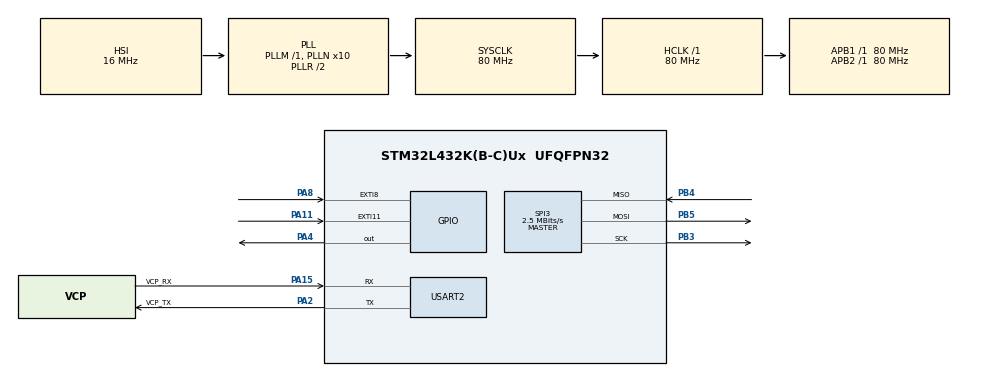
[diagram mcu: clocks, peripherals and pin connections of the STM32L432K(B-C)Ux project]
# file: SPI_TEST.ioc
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Mcu.Family=STM32L4
Mcu.Name=STM32L432K(B-C)Ux
Mcu.Package=UFQFPN32
NVIC.EXTI15_10_IRQn=true\:2\:0\:true\:false\:true\:true\:true\:true
NVIC.EXTI9_5_IRQn=true\:2\:0\:true\:false\:true\:true\:true\:true
NVIC.PriorityGroup=NVIC_PRIORITYGROUP_4
PA0.GPIO_Label=MCO [High speed clock in]
PA0.Mode=HSE-External-Clock-Source-for-LittleOrca
PA0.Signal=RCC_CK_IN
PA11.GPIO_ModeDefaultEXTI=GPIO_MODE_IT_FALLING
PA11.Signal=GPXTI11
PA13\ (JTMS-SWDIO).GPIO_Label=SWDIO
PA13\ (JTMS-SWDIO).Mode=Serial_Wire
PA13\ (JTMS-SWDIO).Signal=SYS_JTMS-SWDIO
PA14\ (JTCK-SWCLK).GPIO_Label=SWCLK
PA14\ (JTCK-SWCLK).Mode=Serial_Wire
PA14\ (JTCK-SWCLK).Signal=SYS_JTCK-SWCLK
PA15\ (JTDI).GPIO_Label=VCP_RX
PA15\ (JTDI).Mode=Asynchronous
PA15\ (JTDI).Signal=USART2_RX
PA2.GPIO_Label=VCP_TX
PA2.Mode=Asynchronous
PA2.Signal=USART2_TX
PA4.PinState=GPIO_PIN_SET
PA4.Signal=GPIO_Output
PA8.GPIO_ModeDefaultEXTI=GPIO_MODE_IT_FALLING
PA8.Signal=GPXTI8
PB3\ (JTDO-TRACESWO).GPIO_Speed=GPIO_SPEED_FREQ_VERY_HIGH
PB3\ (JTDO-TRACESWO).Mode=Full_Duplex_Master
PB3\ (JTDO-TRACESWO).Signal=SPI3_SCK
PB4\ (NJTRST).GPIO_Speed=GPIO_SPEED_FREQ_VERY_HIGH
PB4\ (NJTRST).Mode=Full_Duplex_Master
PB4\ (NJTRST).Signal=SPI3_MISO
PB5.GPIO_Speed=GPIO_SPEED_FREQ_VERY_HIGH
PB5.Mode=Full_Duplex_Master
PB5.Signal=SPI3_MOSI
PC14-OSC32_IN\ (PC14).Mode=LSE-External-Oscillator
PC14-OSC32_IN\ (PC14).Signal=RCC_OSC32_IN
PC15-OSC32_OUT\ (PC15).Mode=LSE-External-Oscillator
PC15-OSC32_OUT\ (PC15).Signal=RCC_OSC32_OUT
ProjectManager.HeapSize=0x200
ProjectManager.StackSize=0x400
ProjectManager.TargetToolchain=STM32CubeIDE
RCC.ADCFreq_Value=64000000
RCC.AHBFreq_Value=80000000
RCC.APB1Freq_Value=80000000
RCC.APB1TimFreq_Value=80000000
RCC.APB2Freq_Value=80000000
RCC.APB2TimFreq_Value=80000000
RCC.CortexFreq_Value=80000000
RCC.HCLKFreq_Value=80000000
RCC.HSE_VALUE=8000000
RCC.HSI16_VALUE=16000000
RCC.HSI48_VALUE=48000000
RCC.HSI_VALUE=16000000
RCC.MSI_VALUE=4000000
RCC.PLLMUL=RCC_PLLMUL_4
RCC.PLLN=10
RCC.PLLSourceVirtual=RCC_PLLSOURCE_HSI
RCC.SYSCLKFreq_VALUE=80000000
RCC.SYSCLKSource=RCC_SYSCLKSOURCE_PLLCLK
RCC.USBFreq_Value=64000000
RCC.VCOOutputFreq_Value=160000000
SPI3.BaudRatePrescaler=SPI_BAUDRATEPRESCALER_32
SPI3.CLKPhase=SPI_PHASE_2EDGE
SPI3.CLKPolarity=SPI_POLARITY_LOW
SPI3.CalculateBaudRate=2.5 MBits/s
SPI3.DataSize=SPI_DATASIZE_8BIT
SPI3.Direction=SPI_DIRECTION_2LINES
SPI3.Mode=SPI_MODE_MASTER
SPI3.VirtualType=VM_MASTER
USART2.VirtualMode-Asynchronous=VM_ASYNC
board=NUCLEO-L432KC

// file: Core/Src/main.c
/* USER CODE BEGIN Header */
/**
  ******************************************************************************
  * @file           : main.c
  * @brief          : Main program body
  ******************************************************************************
  * @attention
  *
  * Copyright (c) 2024 STMicroelectronics.
  * All rights reserved.
  *
  * This software is licensed under terms that can be found in the LICENSE file
  * in the root directory of this software component.
  * If no LICENSE file comes with this software, it is provided AS-IS.
  *
  ******************************************************************************
  */
/* USER CODE END Header */
#include "main.h"

/* USER CODE BEGIN Includes */
#include <string.h>
#include <stdio.h>
#include <math.h>

/* USER CODE END Includes */

/* USER CODE BEGIN PD */
#define VREF 2.5
#define M 2.4
#define C 1.2
#define VOUT 2
#define SINE_RESOLUTION 10000 // Number of points in the sine wave
#define DAC_MAX 65535       // 16-bit DAC
#define V_REF 2.5           // Reference voltage for DAC
#define V_OUT_RANGE 3.0     // Desired voltage range for sine wave output
/* USER CODE END PD */

SPI_HandleTypeDef hspi3;

UART_HandleTypeDef huart2;

/* USER CODE BEGIN PV */
const uint8_t CRaddress = 0x04; 			//Control register address
const uint16_t CRconfig = 0x22D; 			//Control register configuration
const uint8_t Read = 0x0C;  				//Control register read
const uint8_t Reset = 0x0F;  				//Reset address
const uint8_t DAC_update_address = 0x03;	//DAC Write_Update address
const uint8_t DAC_Read = 0xB;				//DAC read address
uint8_t rxData[3];
uint16_t sine_wave[SINE_RESOLUTION];

/* USER CODE END PV */

void SystemClock_Config(void);
static void MX_GPIO_Init(void);
static void MX_USART2_UART_Init(void);
static void MX_SPI3_Init(void);

/* USER CODE BEGIN 0 */
void generate_sine_wave(void) {
    for (int i = 0; i < SINE_RESOLUTION; i++) {
        double angle = 2 * M_PI * i / SINE_RESOLUTION;
        double sine_value = sin(angle);

        // Convert to DAC value using the transfer function
        double v_out = sine_value * V_OUT_RANGE; // Scale sine wave to desired voltage range
        uint16_t dac_value = (uint16_t)((((v_out/VREF)+C)/M)*(65535));
        sine_wave[i] = dac_value;
    }
}
void AD5761_Read(uint8_t reg, uint16_t value) {
	//HAL_StatusTypeDef ret,re;
    uint8_t nop[3]= {(uint8_t)0x0,(uint8_t)0x0,(uint8_t)0x0};

	uint8_t txData[3];
    txData[0] = reg;
    txData[1] = (value & 0xFF00) >> 8;
    txData[2] = (value & 0x00FF) >> 0;

    HAL_GPIO_WritePin(GPIOA, GPIO_PIN_4, GPIO_PIN_RESET);				 // CS Low
    HAL_SPI_Transmit(&hspi3, txData, 3, HAL_MAX_DELAY);  				 // Transmit data
    HAL_GPIO_WritePin(GPIOA, GPIO_PIN_4, GPIO_PIN_SET);   					// CS High

    HAL_Delay(10);
    HAL_GPIO_WritePin(GPIOA, GPIO_PIN_4, GPIO_PIN_RESET); 				// CS Low
    HAL_SPI_TransmitReceive(&hspi3, nop, rxData, 3,HAL_MAX_DELAY);   	// Transmit_Receive data
    HAL_GPIO_WritePin(GPIOA, GPIO_PIN_4, GPIO_PIN_SET);					 // CS High

//    char uart_buf[30];
//    int uart_len;
//    uart_len = sprintf(uart_buf, "Status: 0x%02x 0x%02x 0x%02x \r\n", rxData[0], rxData[1], rxData[2]);
//    HAL_UART_Transmit(&huart2, (uint8_t*)uart_buf, uart_len,HAL_MAX_DELAY);
//    uint32_t controlRegisterData = (rxData[0] << 16) | (rxData[1] << 8) | rxData[2];

}

void AD5761_Write(uint8_t reg, uint16_t value) {
    uint8_t txData[3];
    txData[0] = reg;
    txData[1] = (value & 0xFF00) >> 8;
    txData[2] = (value & 0x00FF) >> 0;

    HAL_GPIO_WritePin(GPIOA, GPIO_PIN_4, GPIO_PIN_RESET); // CS Low
    HAL_SPI_Transmit(&hspi3, txData, 3, HAL_MAX_DELAY);   // Transmit data
    HAL_GPIO_WritePin(GPIOA, GPIO_PIN_4, GPIO_PIN_SET);   // CS High

}

void AD5761_Init(void) {

	AD5761_Write(0x0,0x0);
	AD5761_Write(Reset,(uint16_t)0x0);		// Software Data Reset
	HAL_Delay(10);
    AD5761_Write(CRaddress, CRconfig);		// Set to Bipolar mode, +/- 3V range
}
void HandleAlertCondition(void)
{
    // Read the control register to determine the cause of the ALERT
    AD5761_Read(Read, (uint16_t)0x000);

    // Additional handling based on the specific condition
    // ...

    // Clear the ALERT condition by writing to the control register
    //AD5761_Write(CRaddress, CRconfig);
}
void HAL_GPIO_EXTI_Callback(uint16_t GPIO_Pin){
//	 if (GPIO_Pin == GPIO_PIN_8)
//	    {
//	        // Handle the ALERT condition
//	        HandleAlertCondition();
//	    }
	 if (GPIO_Pin == GPIO_PIN_11)
	 	    {
	 	        // Handle the ALERT condition
	 	        HandleAlertCondition();
	 	    }
}

/* USER CODE END 0 */

int main(void)
{

  /* MCU Configuration--------------------------------------------------------*/

  /* Reset of all peripherals, Initializes the Flash interface and the Systick. */
  HAL_Init();

  /* Configure the system clock */
  SystemClock_Config();

  /* Initialize all configured peripherals */
  MX_GPIO_Init();
  MX_USART2_UART_Init();
  MX_SPI3_Init();
  /* USER CODE BEGIN 2 */
  AD5761_Init();    						//AD5761 Initiallize (Software Data Reset and Control register write)
  AD5761_Read(Read,(uint16_t)0x0);			//Read from control register (0x4)

  uint16_t dac_value = (uint16_t)((((VOUT/VREF)+C)/M)*(65535));

  AD5761_Write((uint8_t)DAC_update_address, dac_value);  //Write and update DAC register (0x3)
//  AD5761_Write((uint8_t)DAC_update_address,(uint16_t)0xFFFF);
//  AD5761_Read((uint8_t)0x0B,(uint16_t)0x0);				//Read DAC register (0x3)

  //generate_sine_wave();

  /* USER CODE END 2 */

  /* Infinite loop */
  /* USER CODE BEGIN WHILE */

   while (1)
  {
//	  for (int i = 0; i < SINE_RESOLUTION; i++) {
//	              AD5761_Write(DAC_update_address, sine_wave[i]);
//	              HAL_Delay(1); // Adjust delay for desired frequency
//	          }
    /* USER CODE END WHILE */

  }
}

void SystemClock_Config(void)
{
  RCC_OscInitTypeDef RCC_OscInitStruct = {0};
  RCC_ClkInitTypeDef RCC_ClkInitStruct = {0};

  /** Configure the main internal regulator output voltage
  */
  if (HAL_PWREx_ControlVoltageScaling(PWR_REGULATOR_VOLTAGE_SCALE1) != HAL_OK)
  {
    Error_Handler();
  }

  /** Initializes the RCC Oscillators according to the specified parameters
  * in the RCC_OscInitTypeDef structure.
  */
  RCC_OscInitStruct.OscillatorType = RCC_OSCILLATORTYPE_HSI;
  RCC_OscInitStruct.HSIState = RCC_HSI_ON;
  RCC_OscInitStruct.HSICalibrationValue = RCC_HSICALIBRATION_DEFAULT;
  RCC_OscInitStruct.PLL.PLLState = RCC_PLL_ON;
  RCC_OscInitStruct.PLL.PLLSource = RCC_PLLSOURCE_HSI;
  RCC_OscInitStruct.PLL.PLLM = 1;
  RCC_OscInitStruct.PLL.PLLN = 10;
  RCC_OscInitStruct.PLL.PLLP = RCC_PLLP_DIV7;
  RCC_OscInitStruct.PLL.PLLQ = RCC_PLLQ_DIV2;
  RCC_OscInitStruct.PLL.PLLR = RCC_PLLR_DIV2;
  if (HAL_RCC_OscConfig(&RCC_OscInitStruct) != HAL_OK)
  {
    Error_Handler();
  }

  /** Initializes the CPU, AHB and APB buses clocks
  */
  RCC_ClkInitStruct.ClockType = RCC_CLOCKTYPE_HCLK|RCC_CLOCKTYPE_SYSCLK
                              |RCC_CLOCKTYPE_PCLK1|RCC_CLOCKTYPE_PCLK2;
  RCC_ClkInitStruct.SYSCLKSource = RCC_SYSCLKSOURCE_PLLCLK;
  RCC_ClkInitStruct.AHBCLKDivider = RCC_SYSCLK_DIV1;
  RCC_ClkInitStruct.APB1CLKDivider = RCC_HCLK_DIV1;
  RCC_ClkInitStruct.APB2CLKDivider = RCC_HCLK_DIV1;

  if (HAL_RCC_ClockConfig(&RCC_ClkInitStruct, FLASH_LATENCY_4) != HAL_OK)
  {
    Error_Handler();
  }
}

static void MX_SPI3_Init(void)
{

  /* SPI3 parameter configuration*/
  hspi3.Instance = SPI3;
  hspi3.Init.Mode = SPI_MODE_MASTER;
  hspi3.Init.Direction = SPI_DIRECTION_2LINES;
  hspi3.Init.DataSize = SPI_DATASIZE_8BIT;
  hspi3.Init.CLKPolarity = SPI_POLARITY_LOW;
  hspi3.Init.CLKPhase = SPI_PHASE_2EDGE;
  hspi3.Init.NSS = SPI_NSS_SOFT;
  hspi3.Init.BaudRatePrescaler = SPI_BAUDRATEPRESCALER_32;
  hspi3.Init.FirstBit = SPI_FIRSTBIT_MSB;
  hspi3.Init.TIMode = SPI_TIMODE_DISABLE;
  hspi3.Init.CRCCalculation = SPI_CRCCALCULATION_DISABLE;
  hspi3.Init.CRCPolynomial = 7;
  hspi3.Init.CRCLength = SPI_CRC_LENGTH_DATASIZE;
  hspi3.Init.NSSPMode = SPI_NSS_PULSE_DISABLE;
  if (HAL_SPI_Init(&hspi3) != HAL_OK)
  {
    Error_Handler();
  }

}

static void MX_USART2_UART_Init(void)
{

  huart2.Instance = USART2;
  huart2.Init.BaudRate = 115200;
  huart2.Init.WordLength = UART_WORDLENGTH_8B;
  huart2.Init.StopBits = UART_STOPBITS_1;
  huart2.Init.Parity = UART_PARITY_NONE;
  huart2.Init.Mode = UART_MODE_TX_RX;
  huart2.Init.HwFlowCtl = UART_HWCONTROL_NONE;
  huart2.Init.OverSampling = UART_OVERSAMPLING_16;
  huart2.Init.OneBitSampling = UART_ONE_BIT_SAMPLE_DISABLE;
  huart2.AdvancedInit.AdvFeatureInit = UART_ADVFEATURE_NO_INIT;
  if (HAL_UART_Init(&huart2) != HAL_OK)
  {
    Error_Handler();
  }

}

static void MX_GPIO_Init(void)
{
  GPIO_InitTypeDef GPIO_InitStruct = {0};

  /* GPIO Ports Clock Enable */
  __HAL_RCC_GPIOC_CLK_ENABLE();
  __HAL_RCC_GPIOA_CLK_ENABLE();
  __HAL_RCC_GPIOB_CLK_ENABLE();

  /*Configure GPIO pin Output Level */
  HAL_GPIO_WritePin(GPIOA, GPIO_PIN_4, GPIO_PIN_SET);

  /*Configure GPIO pin : PA4 */
  GPIO_InitStruct.Pin = GPIO_PIN_4;
  GPIO_InitStruct.Mode = GPIO_MODE_OUTPUT_PP;
  GPIO_InitStruct.Pull = GPIO_NOPULL;
  GPIO_InitStruct.Speed = GPIO_SPEED_FREQ_LOW;
  HAL_GPIO_Init(GPIOA, &GPIO_InitStruct);

  /*Configure GPIO pins : PA8 PA11 */
  GPIO_InitStruct.Pin = GPIO_PIN_8|GPIO_PIN_11;
  GPIO_InitStruct.Mode = GPIO_MODE_IT_FALLING;
  GPIO_InitStruct.Pull = GPIO_NOPULL;
  HAL_GPIO_Init(GPIOA, &GPIO_InitStruct);

  /* EXTI interrupt init*/
  HAL_NVIC_SetPriority(EXTI9_5_IRQn, 2, 0);
  HAL_NVIC_EnableIRQ(EXTI9_5_IRQn);

  HAL_NVIC_SetPriority(EXTI15_10_IRQn, 2, 0);
  HAL_NVIC_EnableIRQ(EXTI15_10_IRQn);

}

/* USER CODE BEGIN 4 */
//void_HAL_SPI_TxRxCpltCallback(SPI_HandleTypeDef *hspi)
//{
//	HAL_GPIO_WritePin(GPIOA, GPIO_PIN_4, GPIO_PIN_SET);   // CS High
//
//    char uart_buf[30];
//    int uart_len;
//	uart_len = sprintf(uart_buf, "Status: 0x%02x 0x%02x 0x%02x \r\n", rxData[0], rxData[1], rxData[2]);
//	HAL_UART_Transmit(&huart2, (uint8_t*)uart_buf, uart_len,HAL_MAX_DELAY);
//}
/* USER CODE END 4 */

void Error_Handler(void)
{
  __disable_irq();
  while (1)
  {
  }
}
